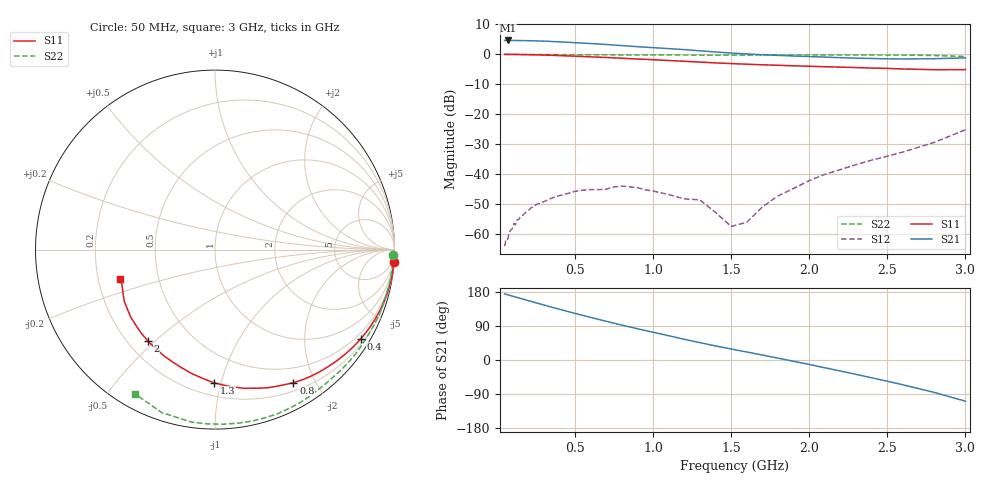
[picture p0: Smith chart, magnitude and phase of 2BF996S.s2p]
! BF996S Si-Dual Gate MOS-FET in SOT143 package
! V ds = 15V  I d = 10mA  V g2= 4V
# GHZ S MA R 50
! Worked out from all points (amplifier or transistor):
!   50 points, 50 MHz to 3 GHz, reference 50 ohm
!   highest |S21| = 4.6 dB at 70 MHz (marker M1)
!   |S21| within 3 dB of that: start of sweep to 1.182 GHz
!   unconditionally stable (mu >= 1): 715.7 MHz to 2.066 GHz
!   at 130 MHz: K = 0.15, MSG = 29.9 dB, |S12| = -55.2 dB
!   at 700 MHz: K = 0.98, MSG = 24.2 dB, |S12| = -45.1 dB
!   at 3 GHz: K = 0.64, MSG = 12.0 dB, |S12| = -25.2 dB
!   S11 on the Smith chart (normalised r, x): 50 MHz: 1, -29; 400 MHz: 0.33, -3.53; 800 MHz: 0.30, -1.71; 1.3 GHz: 0.29, -0.95; 2 GHz: 0.28, -0.48; 3 GHz: 0.29, -0.14
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0.05  0.9984 -4.0  1.703 174.4  0.000624 92.3  0.9936 -1.7
0.06  0.9985 -4.8  1.705 173.3  0.000822 89.3  0.9936 -2.1
0.07  0.9982 -5.6  1.705 172.1  0.00082 86.0  0.9935 -2.4
0.08  0.9979 -6.4  1.704 170.9  0.001055 82.5  0.9933 -2.7
0.11  0.9962 -8.8  1.703 167.5  0.001497 83.4  0.9935 -3.8
0.12  0.9954 -9.6  1.704 166.3  0.001421 83.5  0.9929 -4.1
0.13  0.9947 -10.4  1.702 165.1  0.001733 82.7  0.9931 -4.5
0.25  0.9807 -19.9  1.678 151.1  0.003072 75.4  0.9914 -8.5
0.4  0.9527 -31.4  1.617 134.0  0.004357 65.4  0.9873 -13.6
0.55  0.9195 -42.2  1.541 117.8  0.005382 57.5  0.9841 -18.6
0.7  0.8856 -52.6  1.461 102.2  0.005591 55.3  0.9826 -23.6
0.8  0.8604 -59.5  1.399 92.2  0.006292 50.3  0.9783 -26.8
1.1  0.7895 -78.2  1.246 64.1  0.004545 42.0  0.9754 -36.7
1.3  0.7424 -90.4  1.146 45.8  0.003701 47.1  0.9714 -43.9
1.5  0.7011 -101.1  1.051 29.1  0.001333 85.5  0.9691 -50.8
1.6  0.6835 -105.9  1.015 21.1  0.001563 135.0  0.9698 -54.2
1.8  0.6562 -115.8  0.9609 4.9  0.004306 167.4  0.9757 -61.2
2  0.6317 -126.2  0.9179 -11.7  0.00776 174.9  0.9786 -68.9
2.1  0.6213 -131.3  0.8993 -20.5  0.009881 176.7  0.9776 -73.1
2.6  0.5697 -153.9  0.8359 -65.4  0.0233 -176.6  0.97 -97.8
2.8  0.5533 -159.5  0.845 -85.4  0.03376 -171.1  0.9553 -108.1
3  0.5547 -163.1  0.8721 -108.7  0.0549 -170.7  0.9189 -119.1
